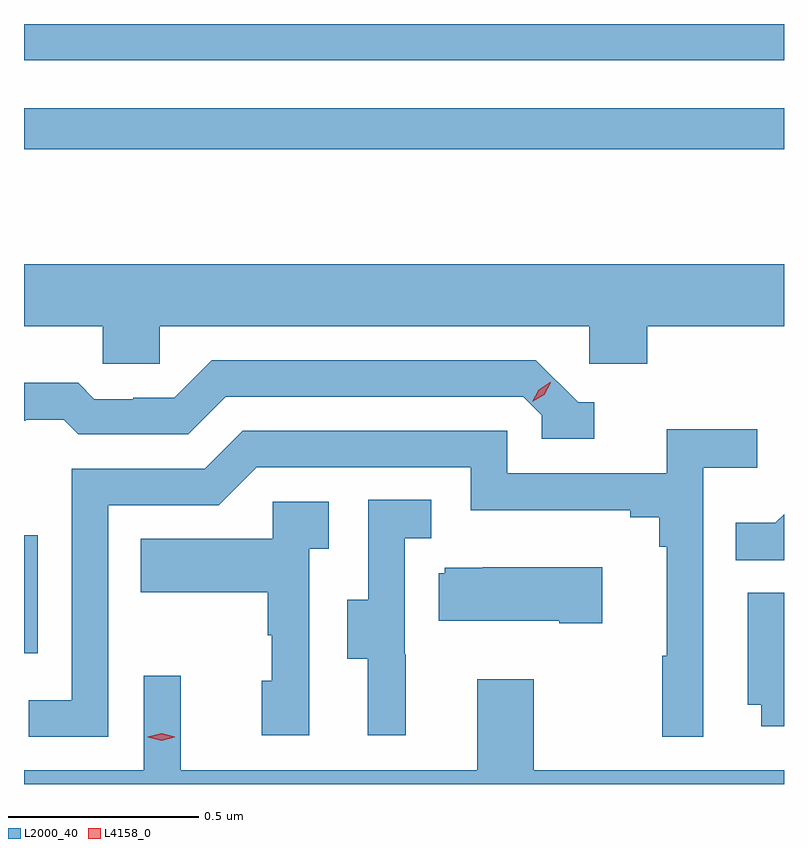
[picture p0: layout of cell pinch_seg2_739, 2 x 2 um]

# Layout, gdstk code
import gdstk
lib = gdstk.Library(unit=1e-6, precision=1e-09)
def R(c, l, rs):  # rectangles x0, y0, x1, y1
    for r in rs: c.add(gdstk.rectangle(r[:2], r[2:], *l))
def P(c, l, *ps):  # polygons
    for p in ps: c.add(gdstk.Polygon(p, *l))
L2000_40 = (2000, 40)
L4158_0 = (4158, 0)

pinch_seg2_739 = lib.new_cell('pinch_seg2_739')
R(pinch_seg2_739, L2000_40, [(1120.944,588.168,1120.98,588.478), (1120.944,589.494,1122.944,589.602), (1120.944,589.728,1122.944,589.824)])
P(pinch_seg2_739, L2000_40, [(1121.301,589.028),(1122.432,589.028),(1122.432,588.93),(1122.584,588.93),(1122.584,589.028),(1122.944,589.028),(1122.944,589.192),(1120.944,589.192),(1120.944,589.028),(1121.151,589.028),(1121.151,588.93),(1121.301,588.93)],
  [(1122.445,588.828),(1122.402,588.828),(1122.291,588.939),(1121.438,588.939),(1121.339,588.84),(1121.232,588.84),(1121.232,588.837),(1121.129,588.837),(1121.087,588.88),(1120.944,588.88),(1120.944,588.78),(1120.949,588.78),(1120.949,588.783),(1121.048,588.783),(1121.087,588.744),(1121.376,588.744),(1121.475,588.843),(1122.258,588.843),(1122.306,588.795),(1122.306,588.732),(1122.445,588.732)],
  [(1121.166,588.558),(1121.457,588.558),(1121.556,588.657),(1122.12,588.657),(1122.12,588.545),(1122.539,588.545),(1122.539,588.526),(1122.616,588.526),(1122.616,588.449),(1122.635,588.449),(1122.635,588.161),(1122.624,588.161),(1122.624,587.949),(1122.732,587.949),(1122.732,588.656),(1122.874,588.656),(1122.874,588.758),(1122.635,588.758),(1122.635,588.642),(1122.216,588.642),(1122.216,588.753),(1121.519,588.753),(1121.42,588.654),(1121.07,588.654),(1121.07,588.045),(1120.957,588.045),(1120.957,587.949),(1121.166,587.949)],
  [(1121.948,588.165),(1121.946,588.165),(1121.946,588.471),(1122.016,588.471),(1122.016,588.572),(1121.85,588.572),(1121.85,588.309),(1121.795,588.309),(1121.795,588.154),(1121.849,588.154),(1121.849,587.952),(1121.948,587.952)],
  [(1121.694,588.443),(1121.746,588.443),(1121.746,588.567),(1121.598,588.567),(1121.598,588.469),(1121.251,588.469),(1121.251,588.329),(1121.586,588.329),(1121.586,588.215),(1121.596,588.215),(1121.596,588.096),(1121.57,588.096),(1121.57,587.952),(1121.694,587.952)],
  [(1122.944,588.534),(1122.921,588.511),(1122.817,588.511),(1122.817,588.413),(1122.944,588.413)],
  [(1122.466,588.394),(1122.151,588.394),(1122.151,588.393),(1122.051,588.393),(1122.051,588.378),(1122.035,588.378),(1122.035,588.254),(1122.353,588.254),(1122.353,588.247),(1122.466,588.247)],
  [(1122.944,588.327),(1122.848,588.327),(1122.848,588.032),(1122.884,588.032),(1122.884,587.976),(1122.944,587.976)],
  [(1121.259,588.109),(1121.259,587.86),(1120.944,587.86),(1120.944,587.824),(1122.944,587.824),(1122.944,587.86),(1122.285,587.86),(1122.285,588.1),(1122.137,588.1),(1122.137,587.86),(1121.357,587.86),(1121.357,588.109)])
P(pinch_seg2_739, L4158_0, [(1121.306,587.938),(1121.27,587.947),(1121.27,587.948),(1121.27,587.948),(1121.306,587.958),(1121.341,587.948),(1121.341,587.948),(1121.341,587.947)],
  [(1122.281,588.83),(1122.281,588.83),(1122.298,588.862),(1122.329,588.881),(1122.33,588.881),(1122.33,588.88),(1122.313,588.848),(1122.281,588.83)])

lib.write_gds('pinch_seg2_739.gds')
